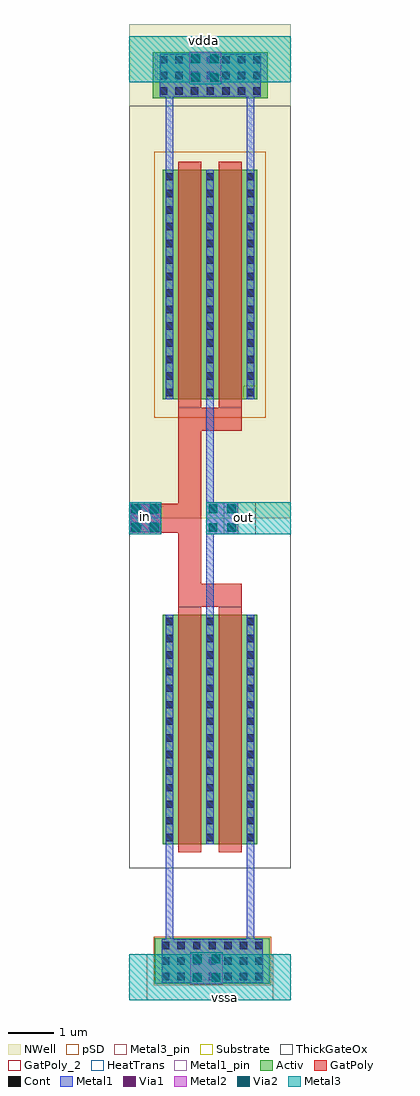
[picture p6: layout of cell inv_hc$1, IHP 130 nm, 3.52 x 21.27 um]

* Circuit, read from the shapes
.subckt inv_hc$1 in out vdda vssa
XM1 out in vssa vssa sg13_hv_nmos w=5u l=0.5u m=2
XM2 out in vdda vdda sg13_hv_pmos w=5u l=0.5u m=2
.ends

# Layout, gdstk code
import gdstk
lib = gdstk.Library(unit=1e-6, precision=1e-09)
def R(c, l, rs):  # rectangles x0, y0, x1, y1
    for r in rs: c.add(gdstk.rectangle(r[:2], r[2:], *l))
def A(c, l, x, y, w, h, nx, ny, dx, dy):  # array of equal rectangles
    R(c, l, [(x+i*dx, y+j*dy, x+i*dx+w, y+j*dy+h) for i in range(nx) for j in range(ny)])
Activ = (1, 0)
GatPoly = (5, 0)
GatPoly_2 = (5, 2)
Cont = (6, 0)
Metal1 = (8, 0)
Metal1_pin = (8, 2)
Metal2 = (10, 0)
pSD = (14, 0)
Via1 = (19, 0)
Via2 = (29, 0)
Metal3 = (30, 0)
Metal3_pin = (30, 2)
NWell = (31, 0)
Substrate = (40, 0)
ThickGateOx = (44, 0)
HeatTrans = (51, 0)

pmoshv_6 = lib.new_cell('pmosHV$6')
A(pmoshv_6, Activ, 0, 0, 0.3, 0.3, 3, 1, 0.88, 0)
R(pmoshv_6, Activ, [(0,0,2.06,5)])
R(pmoshv_6, GatPoly, [(0.34,-0.18,0.84,5.18), (1.22,-0.18,1.72,5.18)])
R(pmoshv_6, GatPoly_2, [(0.34,-0.18,0.84,5.18)])
A(pmoshv_6, Cont, 0.07, 0.07, 0.16, 0.16, 3, 4, 0.88, 0.36)
A(pmoshv_6, Cont, 0.07, 1.515, 0.16, 0.16, 3, 3, 0.88, 0.36)
A(pmoshv_6, Cont, 0.07, 2.6, 0.16, 0.16, 3, 3, 0.88, 0.36)
A(pmoshv_6, Cont, 0.07, 3.685, 0.16, 0.16, 3, 3, 0.88, 0.36)
A(pmoshv_6, Cont, 0.07, 4.77, 0.16, 0.16, 3, 1, 0.88, 0)
A(pmoshv_6, Metal1, 0.07, 0, 0.16, 5, 3, 1, 0.88, 0)
R(pmoshv_6, Metal1_pin, [(0.07,0,0.23,5), (0.95,0,1.11,5)])
R(pmoshv_6, pSD, [(-0.18,-0.4,2.24,5.4)])
R(pmoshv_6, NWell, [(-0.62,-0.62,2.68,5.62)])
R(pmoshv_6, Substrate, [(1.76,0,2.06,0.3)])
R(pmoshv_6, ThickGateOx, [(-0.62,-0.62,2.68,5.62)])
R(pmoshv_6, HeatTrans, [(0.34,-0.18,0.84,5.18), (1.22,-0.18,1.72,5.18)])
pmoshv_6.add(gdstk.Label('pmosHV', (0.59,2.5), layer=63, texttype=0))
pmoshv_6.add(gdstk.Label('pmos', (0.59,2.5), layer=51, texttype=0))
pmoshv_6.add(gdstk.Label('pmos', (1.47,2.5), layer=51, texttype=0))

ntap1_1 = lib.new_cell('ntap1$1')
R(ntap1_1, Activ, [(0,0,2.5,1)])
A(ntap1_1, Cont, 0.15, 0.08, 0.16, 0.16, 7, 3, 0.34, 0.34)
R(ntap1_1, Metal1, [(0.15,0.03,2.35,0.97)])
R(ntap1_1, Metal1_pin, [(0.15,0.03,2.35,0.97), (0.15,0.08,2.35,0.92)])
R(ntap1_1, NWell, [(-0.24,-0.24,2.74,1.24), (0,0,2.5,1)])

via_stack_16_1 = lib.new_cell('via_stack$16$1')
R(via_stack_16_1, GatPoly, [(-0.32,-0.32,0.32,0.32)])
R(via_stack_16_1, Cont, [(-0.25,-0.25,-0.09,-0.09), (0.09,-0.25,0.25,-0.09), (-0.25,0.09,-0.09,0.25), (0.09,0.09,0.25,0.25)])
R(via_stack_16_1, Metal1, [(-0.35,-0.31,0.35,0.31)])
R(via_stack_16_1, Metal2, [(-0.35,-0.305,0.35,0.305)])
R(via_stack_16_1, Via1, [(-0.3,-0.3,-0.11,-0.11), (0.11,-0.3,0.3,-0.11), (-0.3,0.11,-0.11,0.3), (0.11,0.11,0.3,0.3)])
R(via_stack_16_1, Via2, [(-0.3,-0.3,-0.11,-0.11), (0.11,-0.3,0.3,-0.11), (-0.3,0.11,-0.11,0.3), (0.11,0.11,0.3,0.3)])
R(via_stack_16_1, Metal3, [(-0.35,-0.305,0.35,0.305)])

via_stack_17 = lib.new_cell('via_stack$17')
R(via_stack_17, Metal1, [(-0.35,-0.35,0.35,0.35)])
R(via_stack_17, Metal2, [(-0.35,-0.35,0.35,0.35)])
R(via_stack_17, Via1, [(-0.3,-0.3,-0.11,-0.11), (0.11,-0.3,0.3,-0.11), (-0.3,0.11,-0.11,0.3), (0.11,0.11,0.3,0.3)])
R(via_stack_17, Via2, [(-0.3,-0.3,-0.11,-0.11), (0.11,-0.3,0.3,-0.11), (-0.3,0.11,-0.11,0.3), (0.11,0.11,0.3,0.3)])
R(via_stack_17, Metal3, [(-0.35,-0.35,0.35,0.35)])

nmoshv_6 = lib.new_cell('nmosHV$6')
A(nmoshv_6, Activ, 0, 0, 0.3, 0.3, 3, 1, 0.88, 0)
R(nmoshv_6, Activ, [(0,0,2.06,5)])
R(nmoshv_6, GatPoly, [(0.34,-0.18,0.84,5.18), (1.22,-0.18,1.72,5.18)])
R(nmoshv_6, GatPoly_2, [(0.34,-0.18,0.84,5.18)])
A(nmoshv_6, Cont, 0.07, 0.07, 0.16, 0.16, 3, 4, 0.88, 0.36)
A(nmoshv_6, Cont, 0.07, 1.515, 0.16, 0.16, 3, 3, 0.88, 0.36)
A(nmoshv_6, Cont, 0.07, 2.6, 0.16, 0.16, 3, 3, 0.88, 0.36)
A(nmoshv_6, Cont, 0.07, 3.685, 0.16, 0.16, 3, 3, 0.88, 0.36)
A(nmoshv_6, Cont, 0.07, 4.77, 0.16, 0.16, 3, 1, 0.88, 0)
A(nmoshv_6, Metal1, 0.07, 0, 0.16, 5, 3, 1, 0.88, 0)
R(nmoshv_6, Metal1_pin, [(0.07,0,0.23,5), (0.95,0,1.11,5)])
R(nmoshv_6, ThickGateOx, [(-0.27,-0.52,2.33,5.52)])
R(nmoshv_6, HeatTrans, [(0.34,-0.18,0.84,5.18), (1.22,-0.18,1.72,5.18)])
nmoshv_6.add(gdstk.Label('nmosHV', (0.59,2.5), layer=63, texttype=0))
nmoshv_6.add(gdstk.Label('nmosHV', (0.59,2.5), layer=51, texttype=0))
nmoshv_6.add(gdstk.Label('nmosHV', (1.47,2.5), layer=51, texttype=0))

ptap1_11 = lib.new_cell('ptap1$11')
R(ptap1_11, Activ, [(0,0,2.5,1)])
A(ptap1_11, Cont, 0.15, 0.08, 0.16, 0.16, 7, 3, 0.34, 0.34)
R(ptap1_11, Metal1, [(0.15,0.03,2.35,0.97), (0.15,0.08,2.35,0.92)])
R(ptap1_11, Metal1_pin, [(0.15,0.08,2.35,0.92)])
R(ptap1_11, pSD, [(-0.03,-0.03,2.53,1.03)])
R(ptap1_11, Substrate, [(0,0,2.5,1)])
ptap1_11.add(gdstk.Label('sub!', (1.25,0.01), layer=40, texttype=0))

inv_hc_1 = lib.new_cell('inv_hc$1')
R(inv_hc_1, GatPoly, [(0.685,5.48,1.185,14.495), (1.185,8.075,2.065,8.575), (-0.245,9.68,0.795,10.32), (1.185,11.91,2.065,12.41)])
R(inv_hc_1, Metal1, [(0.415,-0.115,0.575,5.555), (2.175,-0.115,2.335,5.555), (1.295,2.895,1.455,17.59), (0.415,14.37,0.575,20.12), (2.175,14.37,2.335,20.12)])
R(inv_hc_1, Metal3, [(-0.385,-0.5,3.135,0.5), (-0.385,9.65,0.315,10.35), (1.295,9.65,3.135,10.35), (-0.385,19.5,3.135,20.5)])
R(inv_hc_1, Metal3_pin, [(0,-0.5,2.75,0.5), (-0.385,9.65,0.315,10.35), (1.675,9.65,2.375,10.35), (-0.385,19.5,3.135,20.5)])
R(inv_hc_1, NWell, [(-0.385,10,3.135,20.77)])
R(inv_hc_1, ThickGateOx, [(-0.385,2.375,3.135,18.99), (0.075,8.415,2.675,9.08)])
inv_hc_1.add(gdstk.Reference(pmoshv_6, (0.345,12.59)))
r = gdstk.Reference(ntap1_1, (0.13,19.15)); r.repetition = gdstk.Repetition(1, 1, v1=(0,0), v2=(0,0)); inv_hc_1.add(r)
inv_hc_1.add(gdstk.Reference(via_stack_16_1, (-0.035,10)))
inv_hc_1.add(gdstk.Reference(via_stack_17, (1.645,10)))
inv_hc_1.add(gdstk.Reference(via_stack_17, (1.27,19.81)))
inv_hc_1.add(gdstk.Reference(via_stack_17, (1.3,0.195)))
inv_hc_1.add(gdstk.Reference(nmoshv_6, (0.345,2.895)))
r = gdstk.Reference(ptap1_11, (0.175,-0.15)); r.repetition = gdstk.Repetition(1, 1, v1=(0,0), v2=(0,0)); inv_hc_1.add(r)
inv_hc_1.add(gdstk.Label('vdda', (1.234,20.419), layer=30, texttype=25))
inv_hc_1.add(gdstk.Label('vssa', (1.698,-0.452), layer=30, texttype=25))
inv_hc_1.add(gdstk.Label('in', (-0.035,10.04), layer=30, texttype=25))
inv_hc_1.add(gdstk.Label('out', (2.095,10.02), layer=30, texttype=25))

lib.write_gds('inv_hc_1.gds')
